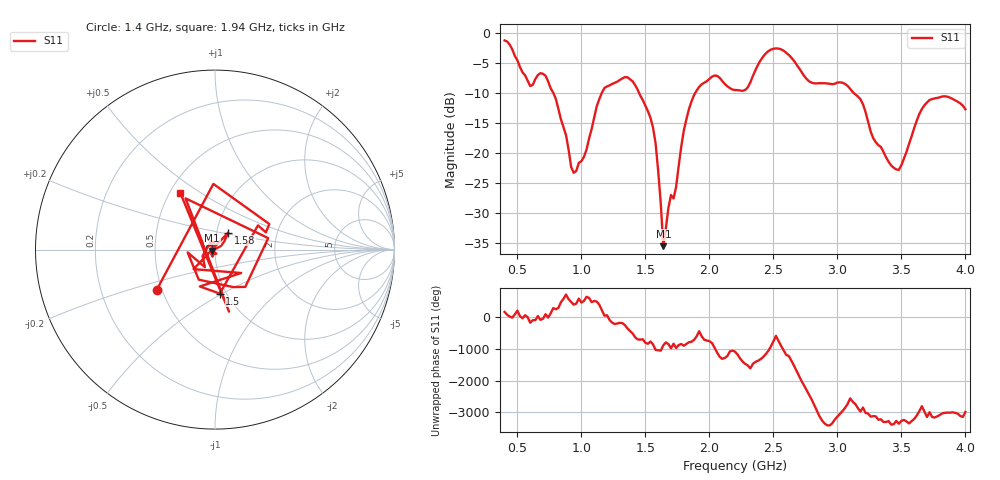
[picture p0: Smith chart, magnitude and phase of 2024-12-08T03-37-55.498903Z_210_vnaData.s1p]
!Created with skrf (http://scikit-rf.org).
# Hz S RI R 50.0
!freq ReS11 ImS11
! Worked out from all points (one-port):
!   181 points, 400 MHz to 4 GHz, reference 50 ohm
!   lowest |S11| = -35.5 dB at 1.64 GHz (marker M1), VSWR 1.03, Z = 48.4 - j0.547 ohm
!   |S11| at or under -10 dB: 780.3 MHz to 1.16 GHz (379.2 MHz wide, 39.1 % of centre); 1.45 GHz to 1.89 GHz (440 MHz wide, 26.3 % of centre); 3.126 GHz to end of sweep
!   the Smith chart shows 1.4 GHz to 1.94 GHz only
!   S11 on the Smith chart (normalised r, x): 1.4 GHz: 0.47, -0.25; 1.5 GHz: 0.93, -0.49; 1.58 GHz: 1.14, +0.22; 1.94 GHz: 0.56, +0.42
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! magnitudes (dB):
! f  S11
! 400 MHz  -1.3
! 600 MHz  -8.9
! 720 MHz  -7.2
! 860 MHz  -15.7
! 920 MHz  -22.3
! 960 MHz  -23.0
! 1.16 GHz  -10.0
! 1.3 GHz  -7.9
! 1.4 GHz  -8.1
! 1.5 GHz  -12.2
! 1.58 GHz  -18.5
! 1.64 GHz  -35.5
! 1.68 GHz  -29.1
! 1.72 GHz  -27.5
! 1.76 GHz  -22.2
! 1.84 GHz  -12.7
! 1.94 GHz  -8.6
! 2.2 GHz  -9.5
! 2.3 GHz  -9.1
! 2.48 GHz  -2.8
! 2.66 GHz  -4.7
! 2.8 GHz  -8.3
! 3.1 GHz  -9.3
! 3.42 GHz  -22.1
! 3.48 GHz  -22.8
! 3.56 GHz  -18.5
! 3.72 GHz  -11.2
! 4 GHz  -12.7
